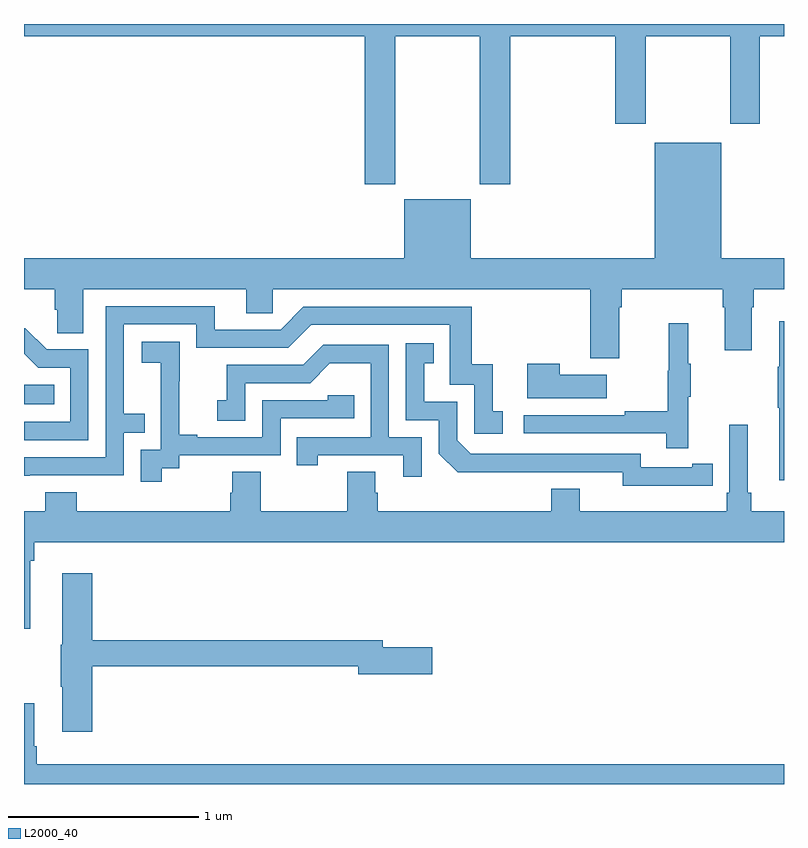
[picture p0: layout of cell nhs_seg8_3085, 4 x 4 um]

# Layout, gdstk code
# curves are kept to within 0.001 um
import gdstk
lib = gdstk.Library(unit=1e-6, precision=1e-09)
def R(c, l, rs):  # rectangles x0, y0, x1, y1
    for r in rs: c.add(gdstk.rectangle(r[:2], r[2:], *l))
def P(c, l, *ps):  # polygons
    for p in ps: c.add(gdstk.Polygon(p, *l))
L2000_40 = (2000, 40)

nhs_seg8_3085 = lib.new_cell('nhs_seg8_3085')
R(nhs_seg8_3085, L2000_40, [(303,1111.898,303.158,1112.002)])
P(nhs_seg8_3085, L2000_40, [(304.953,1113.836),(305.398,1113.836),(305.398,1113.057),(305.558,1113.057),(305.558,1113.836),(306.113,1113.836),(306.113,1113.375),(306.273,1113.375),(306.273,1113.836),(306.718,1113.836),(306.718,1113.375),(306.873,1113.375),(306.873,1113.836),(307,1113.836),(307,1113.9),(303,1113.9),(303,1113.836),(304.793,1113.836),(304.793,1113.057),(304.953,1113.057)],
  [(306.32,1113.274),(306.32,1112.668),(305.35,1112.668),(305.35,1112.977),(305,1112.977),(305,1112.668),(303,1112.668),(303,1112.504),(303.161,1112.504),(303.161,1112.395),(303.174,1112.395),(303.174,1112.272),(303.313,1112.272),(303.313,1112.504),(304.169,1112.504),(304.169,1112.377),(304.308,1112.377),(304.308,1112.504),(305.981,1112.504),(305.981,1112.142),(306.133,1112.142),(306.133,1112.408),(306.146,1112.408),(306.146,1112.504),(306.677,1112.504),(306.677,1112.408),(306.689,1112.408),(306.689,1112.184),(306.829,1112.184),(306.829,1112.408),(306.842,1112.408),(306.842,1112.504),(307,1112.504),(307,1112.668),(306.67,1112.668),(306.67,1113.274)],
  [(303.029,1111.524),(303.525,1111.524),(303.525,1111.749),(303.635,1111.749),(303.635,1111.85),(303.525,1111.85),(303.525,1112.319),(303.906,1112.319),(303.906,1112.196),(304.392,1112.196),(304.512,1112.316),(305.241,1112.316),(305.241,1112.001),(305.37,1112.001),(305.37,1111.743),(305.521,1111.743),(305.521,1111.863),(305.468,1111.863),(305.468,1112.11),(305.357,1112.11),(305.357,1112.412),(304.47,1112.412),(304.35,1112.292),(304.003,1112.292),(304.003,1112.415),(303.429,1112.415),(303.429,1111.62),(303,1111.62),(303,1111.523)],
  [(307,1112.335),(306.974,1112.335),(306.974,1112.096),(306.967,1112.096),(306.967,1111.879),(306.974,1111.879),(306.974,1111.5),(307,1111.5)],
  [(306.497,1111.939),(306.508,1111.939),(306.508,1112.113),(306.497,1112.113),(306.497,1112.326),(306.394,1112.326),(306.394,1112.076),(306.387,1112.076),(306.387,1111.862),(306.163,1111.862),(306.163,1111.842),(305.631,1111.842),(305.631,1111.746),(306.379,1111.746),(306.379,1111.668),(306.497,1111.668)],
  [(303.339,1112.187),(303.12,1112.187),(303.007,1112.3),(303,1112.3),(303,1112.165),(303.074,1112.091),(303.243,1112.091),(303.243,1111.806),(303,1111.806),(303,1111.71),(303.339,1111.71)],
  [(303.724,1111.561),(303.816,1111.561),(303.816,1111.629),(304.35,1111.629),(304.35,1111.824),(304.739,1111.824),(304.739,1111.947),(304.599,1111.947),(304.599,1111.92),(304.254,1111.92),(304.254,1111.725),(303.913,1111.725),(303.913,1111.738),(303.818,1111.738),(303.818,1112.021),(303.819,1112.021),(303.819,1112.227),(303.621,1112.227),(303.621,1112.117),(303.719,1112.117),(303.719,1111.889),(303.72,1111.889),(303.72,1111.659),(303.615,1111.659),(303.615,1111.491),(303.724,1111.491)],
  [(306.518,1111.47),(306.626,1111.47),(306.626,1111.586),(306.518,1111.586),(306.518,1111.566),(306.246,1111.566),(306.246,1111.638),(305.352,1111.638),(305.28,1111.71),(305.28,1111.911),(305.107,1111.911),(305.107,1112.115),(305.156,1112.115),(305.156,1112.221),(305.01,1112.221),(305.01,1111.815),(305.184,1111.815),(305.184,1111.638),(305.282,1111.541),(306.15,1111.542),(306.15,1111.469)],
  [(305.094,1111.725),(304.92,1111.725),(304.92,1112.211),(304.574,1112.211),(304.469,1112.106),(304.066,1112.106),(304.066,1111.921),(304.017,1111.921),(304.017,1111.812),(304.164,1111.812),(304.164,1112.01),(304.506,1112.01),(304.61,1112.114),(304.824,1112.114),(304.824,1111.725),(304.435,1111.725),(304.435,1111.578),(304.546,1111.578),(304.546,1111.629),(304.997,1111.629),(304.997,1111.518),(305.094,1111.518)],
  [(306.067,1112.053),(305.819,1112.053),(305.819,1112.113),(305.648,1112.113),(305.648,1111.931),(306.067,1111.931)],
  [(303.034,1111.076),(303.053,1111.076),(303.053,1111.172),(307,1111.172),(307,1111.336),(306.827,1111.336),(306.827,1111.432),(306.808,1111.432),(306.808,1111.792),(306.711,1111.792),(306.711,1111.432),(306.698,1111.432),(306.698,1111.336),(305.926,1111.336),(305.926,1111.453),(305.774,1111.453),(305.774,1111.336),(304.862,1111.336),(304.862,1111.434),(304.849,1111.434),(304.849,1111.544),(304.702,1111.544),(304.702,1111.336),(304.245,1111.336),(304.245,1111.544),(304.097,1111.544),(304.097,1111.434),(304.085,1111.434),(304.085,1111.336),(303.278,1111.336),(303.278,1111.435),(303.113,1111.435),(303.113,1111.336),(303,1111.336),(303,1110.717),(303.034,1110.717)],
  [(303.359,1110.52),(304.76,1110.52),(304.76,1110.478),(305.149,1110.478),(305.149,1110.62),(304.888,1110.62),(304.888,1110.656),(303.359,1110.656),(303.359,1111.009),(303.2,1111.009),(303.2,1110.633),(303.193,1110.633),(303.193,1110.412),(303.2,1110.412),(303.2,1110.174),(303.359,1110.174)],
  [(307,1110.004),(303.068,1110.004),(303.068,1110.1),(303.055,1110.1),(303.055,1110.325),(303,1110.325),(303,1109.9),(307,1109.9)])

lib.write_gds('nhs_seg8_3085.gds')
